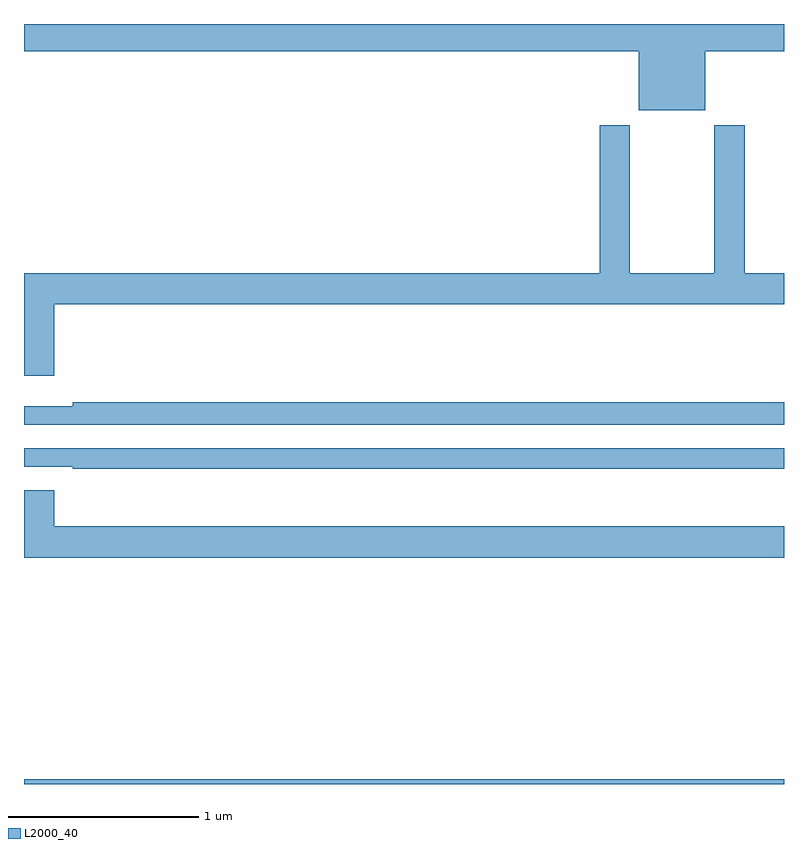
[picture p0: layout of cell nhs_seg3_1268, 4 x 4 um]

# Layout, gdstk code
import gdstk
lib = gdstk.Library(unit=1e-6, precision=1e-09)
def R(c, l, rs):  # rectangles x0, y0, x1, y1
    for r in rs: c.add(gdstk.rectangle(r[:2], r[2:], *l))
def P(c, l, *ps):  # polygons
    for p in ps: c.add(gdstk.Polygon(p, *l))
L2000_40 = (2000, 40)

nhs_seg3_1268 = lib.new_cell('nhs_seg3_1268')
R(nhs_seg3_1268, L2000_40, [(177,690.4,181,690.424)])
P(nhs_seg3_1268, L2000_40, [(180.586,694.256),(181,694.256),(181,694.4),(177,694.4),(177,694.256),(180.236,694.256),(180.236,693.947),(180.586,693.947)],
  [(177.16,692.924),(181,692.924),(181,693.088),(180.794,693.088),(180.794,693.868),(180.634,693.868),(180.634,693.088),(180.189,693.088),(180.189,693.868),(180.029,693.868),(180.029,693.088),(177,693.088),(177,692.55),(177.16,692.55)],
  [(181,692.408),(177.256,692.408),(177.256,692.389),(177,692.389),(177,692.292),(181,692.292)],
  [(181,692.166),(177,692.166),(177,692.07),(177.256,692.07),(177.256,692.058),(181,692.058)],
  [(181,691.756),(177.16,691.756),(177.16,691.945),(177,691.945),(177,691.592),(181,691.592)])

lib.write_gds('nhs_seg3_1268.gds')
